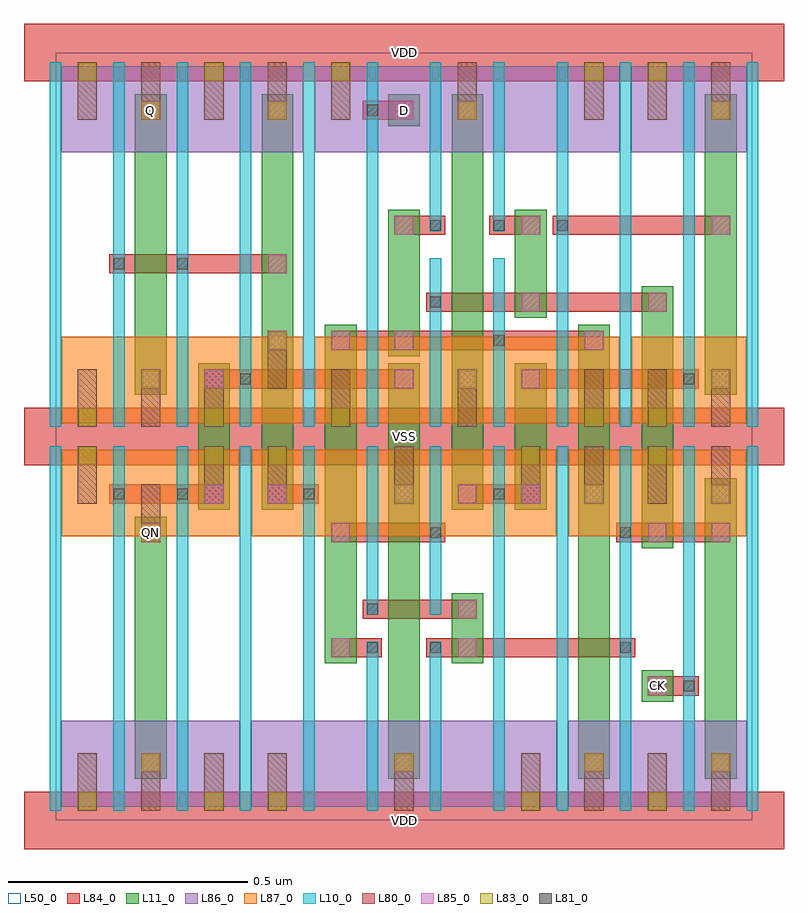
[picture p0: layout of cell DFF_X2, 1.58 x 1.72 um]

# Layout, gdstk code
import gdstk
lib = gdstk.Library(unit=1e-6, precision=1e-09)
def R(c, l, rs):  # rectangles x0, y0, x1, y1
    for r in rs: c.add(gdstk.rectangle(r[:2], r[2:], *l))
def A(c, l, x, y, w, h, nx, ny, dx, dy):  # array of equal rectangles
    R(c, l, [(x+i*dx, y+j*dy, x+i*dx+w, y+j*dy+h) for i in range(nx) for j in range(ny)])
L10_0 = (10, 0)
L11_0 = (11, 0)
L50_0 = (50, 0)
L80_0 = (80, 0)
L81_0 = (81, 0)
L83_0 = (83, 0)
L84_0 = (84, 0)
L85_0 = (85, 0)
L86_0 = (86, 0)
L87_0 = (87, 0)

dff_x2 = lib.new_cell('DFF_X2')
A(dff_x2, L10_0, -0.012, 0.02, 0.024, 0.76, 5, 1, 0.132, 0)
A(dff_x2, L10_0, 0.912, 0.02, 0.024, 0.76, 5, 1, 0.132, 0)
A(dff_x2, L10_0, -0.012, 0.82, 0.024, 0.76, 6, 1, 0.132, 0)
A(dff_x2, L10_0, 1.044, 0.82, 0.024, 0.76, 4, 1, 0.132, 0)
R(dff_x2, L10_0, [(0.648,0.02,0.672,0.372), (0.78,0.02,0.804,0.372), (0.648,0.428,0.672,0.78), (0.78,0.428,0.804,0.78), (0.78,0.82,0.804,1.172), (0.912,0.82,0.936,1.172), (0.78,1.228,0.804,1.58), (0.912,1.228,0.936,1.58)])
R(dff_x2, L11_0, [(0.165,0.087,0.231,0.633), (0.693,0.087,0.759,0.953), (1.089,0.087,1.155,1.033), (1.353,0.087,1.419,0.713), (1.221,0.247,1.287,0.313), (0.561,0.327,0.627,1.033), (0.825,0.327,0.891,0.473), (1.221,0.567,1.287,1.113), (0.297,0.647,0.363,0.953), (0.429,0.647,0.495,1.513), (0.825,0.647,0.891,1.513), (0.957,0.647,1.023,0.953), (0.165,0.887,0.231,1.513), (1.353,0.887,1.419,1.513), (0.693,0.967,0.759,1.273), (0.957,1.047,1.023,1.273), (0.693,1.447,0.759,1.513)])
R(dff_x2, L50_0, [(0,0,1.452,1.6)])
A(dff_x2, L80_0, 0.046, 0.02, 0.04, 0.12, 4, 1, 0.132, 0)
A(dff_x2, L80_0, 0.97, 0.02, 0.04, 0.12, 4, 1, 0.132, 0)
A(dff_x2, L80_0, 0.442, 0.66, 0.04, 0.12, 3, 1, 0.264, 0)
A(dff_x2, L80_0, 1.102, 0.66, 0.04, 0.12, 3, 2, 0.132, 0.8)
A(dff_x2, L80_0, 0.046, 0.82, 0.04, 0.12, 3, 1, 0.132, 0)
A(dff_x2, L80_0, 0.574, 0.82, 0.04, 0.12, 3, 1, 0.264, 0)
A(dff_x2, L80_0, 0.046, 1.46, 0.04, 0.12, 5, 1, 0.132, 0)
R(dff_x2, L80_0, [(0.706,0.02,0.746,0.14), (0.178,0.58,0.218,0.7), (0.046,0.66,0.086,0.78), (0.31,0.66,0.35,0.78), (1.234,0.82,1.274,0.94), (1.366,0.82,1.406,0.94), (0.442,0.9,0.482,1.02), (0.838,1.46,0.878,1.58)])
A(dff_x2, L81_0, 0.781, 1.229, 0.022, 0.022, 3, 1, 0.132, 0)
R(dff_x2, L81_0, [(1.309,0.269,1.331,0.291), (0.649,0.349,0.671,0.371), (0.781,0.349,0.803,0.371), (1.177,0.349,1.199,0.371), (0.649,0.429,0.671,0.451), (0.781,0.589,0.803,0.611), (1.177,0.589,1.199,0.611), (0.121,0.669,0.143,0.691), (0.253,0.669,0.275,0.691), (0.517,0.669,0.539,0.691), (0.913,0.669,0.935,0.691), (0.385,0.909,0.407,0.931), (1.309,0.909,1.331,0.931), (0.913,0.989,0.935,1.011), (0.781,1.069,0.803,1.091), (0.121,1.149,0.143,1.171), (0.253,1.149,0.275,1.171), (0.649,1.469,0.671,1.491)])
A(dff_x2, L83_0, 0.048, 0.822, 0.036, 0.036, 3, 2, 0.264, 0.72)
R(dff_x2, L83_0, [(0.048,0.022,0.084,0.058), (0.312,0.022,0.348,0.058), (0.444,0.022,0.48,0.058), (0.972,0.022,1.008,0.058), (1.236,0.022,1.272,0.058), (0.18,0.102,0.216,0.138), (0.708,0.102,0.744,0.138), (1.104,0.102,1.14,0.138), (1.368,0.102,1.404,0.138), (0.18,0.582,0.216,0.618), (0.708,0.662,0.744,0.698), (1.104,0.662,1.14,0.698), (1.368,0.662,1.404,0.698), (0.048,0.742,0.084,0.778), (0.312,0.742,0.348,0.778), (0.444,0.742,0.48,0.778), (0.972,0.742,1.008,0.778), (1.236,0.742,1.272,0.778), (1.104,0.822,1.14,0.858), (1.236,0.822,1.272,0.858), (0.18,0.902,0.216,0.938), (0.84,0.902,0.876,0.938), (1.368,0.902,1.404,0.938), (0.444,0.982,0.48,1.018), (0.18,1.462,0.216,1.498), (0.444,1.462,0.48,1.498), (0.84,1.462,0.876,1.498), (1.368,1.462,1.404,1.498), (1.104,1.542,1.14,1.578), (1.236,1.542,1.272,1.578)])
A(dff_x2, L84_0, -0.066, -0.06, 1.584, 0.12, 1, 3, 0, 0.8)
R(dff_x2, L84_0, [(0.178,0.1,0.218,0.14), (0.706,0.1,0.746,0.14), (1.102,0.1,1.142,0.14), (1.366,0.1,1.406,0.14), (1.234,0.26,1.34,0.3), (0.574,0.34,0.68,0.38), (0.772,0.34,1.208,0.38), (0.64,0.42,0.878,0.46), (0.178,0.58,0.218,0.62), (0.574,0.58,0.812,0.62), (1.168,0.58,1.406,0.62), (0.112,0.66,0.35,0.7), (0.442,0.66,0.548,0.7), (0.706,0.66,0.746,0.7), (0.838,0.66,1.01,0.7), (1.102,0.66,1.142,0.7), (1.366,0.66,1.406,0.7), (0.178,0.9,0.218,0.94), (0.31,0.9,0.746,0.94), (0.838,0.9,0.878,0.94), (0.97,0.9,1.34,0.94), (1.366,0.9,1.406,0.94), (0.442,0.98,0.482,1.02), (0.574,0.98,1.142,1.02), (0.772,1.06,1.274,1.1), (0.112,1.14,0.482,1.18), (0.706,1.22,0.812,1.26), (0.904,1.22,1.01,1.26), (1.036,1.22,1.406,1.26), (0.178,1.46,0.218,1.5), (0.442,1.46,0.482,1.5), (0.64,1.46,0.746,1.5), (0.838,1.46,0.878,1.5), (1.366,1.46,1.406,1.5)])
A(dff_x2, L85_0, 0.707, 0.661, 0.038, 0.038, 4, 1, 0.132, 0)
A(dff_x2, L85_0, 0.707, 0.901, 0.038, 0.038, 3, 1, 0.132, 0)
A(dff_x2, L85_0, 0.443, 0.981, 0.038, 0.038, 3, 1, 0.132, 0)
A(dff_x2, L85_0, 0.179, 1.461, 0.038, 0.038, 3, 1, 0.264, 0)
R(dff_x2, L85_0, [(0.179,0.101,0.217,0.139), (0.707,0.101,0.745,0.139), (1.103,0.101,1.141,0.139), (1.367,0.101,1.405,0.139), (1.235,0.261,1.273,0.299), (0.575,0.341,0.613,0.379), (0.839,0.341,0.877,0.379), (0.839,0.421,0.877,0.459), (0.179,0.581,0.217,0.619), (0.575,0.581,0.613,0.619), (1.235,0.581,1.273,0.619), (1.367,0.581,1.405,0.619), (0.311,0.661,0.349,0.699), (0.443,0.661,0.481,0.699), (1.367,0.661,1.405,0.699), (0.179,0.901,0.217,0.939), (0.311,0.901,0.349,0.939), (1.367,0.901,1.405,0.939), (1.103,0.981,1.141,1.019), (0.971,1.061,1.009,1.099), (1.235,1.061,1.273,1.099), (0.443,1.141,0.481,1.179), (0.707,1.221,0.745,1.259), (0.971,1.221,1.009,1.259), (1.367,1.221,1.405,1.259), (0.839,1.461,0.877,1.499), (1.367,1.461,1.405,1.499)])
R(dff_x2, L86_0, [(0.012,0.028,0.384,0.208), (0.408,0.028,1.044,0.208), (1.068,0.028,1.44,0.208), (0.012,1.392,0.516,1.572), (0.54,1.392,1.176,1.572), (1.2,1.392,1.44,1.572)])
R(dff_x2, L87_0, [(0.012,0.592,0.384,0.772), (0.408,0.592,1.044,0.772), (1.068,0.592,1.44,0.772), (0.012,0.828,0.516,1.008), (0.54,0.828,1.176,1.008), (1.2,0.828,1.44,1.008)])
dff_x2.add(gdstk.Label('VDD', (0.726,1.6), layer=88, texttype=0))
dff_x2.add(gdstk.Label('VDD', (0.726,0), layer=88, texttype=0))
dff_x2.add(gdstk.Label('VSS', (0.726,0.8), layer=88, texttype=0))
dff_x2.add(gdstk.Label('QN', (0.198,0.6), layer=31, texttype=0))
dff_x2.add(gdstk.Label('Q', (0.198,1.48), layer=31, texttype=0))
dff_x2.add(gdstk.Label('CK', (1.254,0.28), layer=31, texttype=0))
dff_x2.add(gdstk.Label('D', (0.726,1.48), layer=31, texttype=0))

lib.write_gds('DFF_X2.gds')
